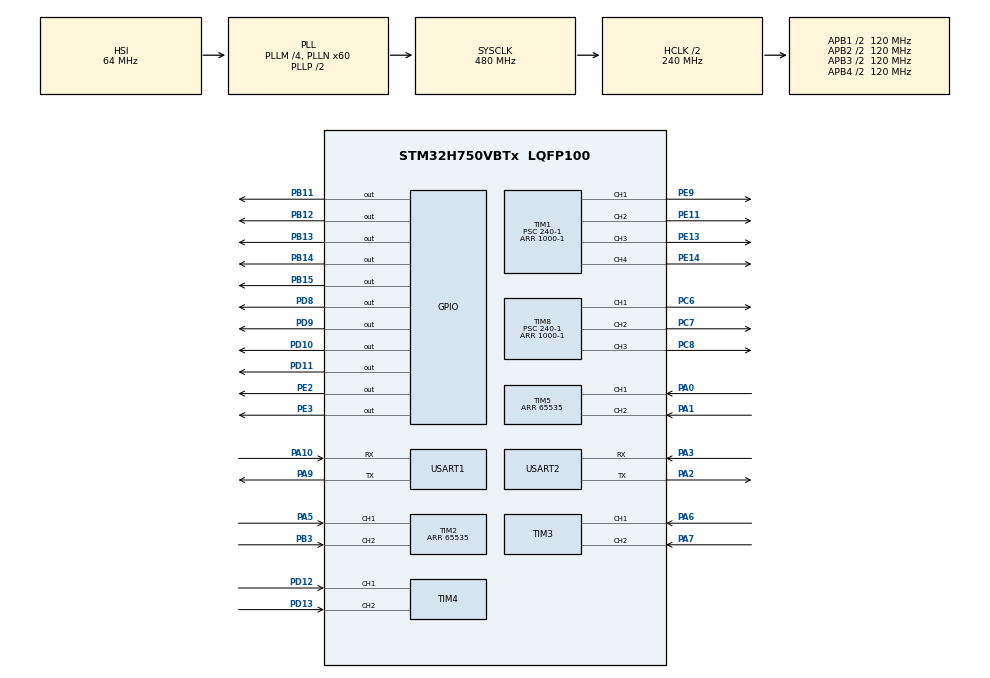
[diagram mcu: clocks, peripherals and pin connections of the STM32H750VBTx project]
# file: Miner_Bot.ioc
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CORTEX_M7.default_mode_Activation=1
Dma.Request0=TIM8_CH1
Dma.Request1=TIM8_CH2
Dma.Request2=TIM8_CH3
Dma.TIM8_CH1.0.Direction=DMA_PERIPH_TO_MEMORY
Dma.TIM8_CH1.0.EventEnable=DISABLE
Dma.TIM8_CH1.0.FIFOMode=DMA_FIFOMODE_DISABLE
Dma.TIM8_CH1.0.Instance=DMA1_Stream4
Dma.TIM8_CH1.0.MemDataAlignment=DMA_MDATAALIGN_HALFWORD
Dma.TIM8_CH1.0.MemInc=DMA_MINC_ENABLE
Dma.TIM8_CH1.0.Mode=DMA_NORMAL
Dma.TIM8_CH1.0.PeriphDataAlignment=DMA_PDATAALIGN_HALFWORD
Dma.TIM8_CH1.0.PeriphInc=DMA_PINC_DISABLE
Dma.TIM8_CH1.0.Polarity=HAL_DMAMUX_REQ_GEN_RISING
Dma.TIM8_CH1.0.Priority=DMA_PRIORITY_LOW
Dma.TIM8_CH1.0.RequestNumber=1
Dma.TIM8_CH1.0.SignalID=NONE
Dma.TIM8_CH1.0.SyncEnable=DISABLE
Dma.TIM8_CH1.0.SyncPolarity=HAL_DMAMUX_SYNC_NO_EVENT
Dma.TIM8_CH1.0.SyncRequestNumber=1
Dma.TIM8_CH1.0.SyncSignalID=NONE
Dma.TIM8_CH2.1.Direction=DMA_PERIPH_TO_MEMORY
Dma.TIM8_CH2.1.EventEnable=DISABLE
Dma.TIM8_CH2.1.FIFOMode=DMA_FIFOMODE_DISABLE
Dma.TIM8_CH2.1.Instance=DMA1_Stream5
Dma.TIM8_CH2.1.MemDataAlignment=DMA_MDATAALIGN_HALFWORD
Dma.TIM8_CH2.1.MemInc=DMA_MINC_ENABLE
Dma.TIM8_CH2.1.Mode=DMA_NORMAL
Dma.TIM8_CH2.1.PeriphDataAlignment=DMA_PDATAALIGN_HALFWORD
Dma.TIM8_CH2.1.PeriphInc=DMA_PINC_DISABLE
Dma.TIM8_CH2.1.Polarity=HAL_DMAMUX_REQ_GEN_RISING
Dma.TIM8_CH2.1.Priority=DMA_PRIORITY_LOW
Dma.TIM8_CH2.1.RequestNumber=1
Dma.TIM8_CH2.1.SignalID=NONE
Dma.TIM8_CH2.1.SyncEnable=DISABLE
Dma.TIM8_CH2.1.SyncPolarity=HAL_DMAMUX_SYNC_NO_EVENT
Dma.TIM8_CH2.1.SyncRequestNumber=1
Dma.TIM8_CH2.1.SyncSignalID=NONE
Dma.TIM8_CH3.2.Direction=DMA_PERIPH_TO_MEMORY
Dma.TIM8_CH3.2.EventEnable=DISABLE
Dma.TIM8_CH3.2.FIFOMode=DMA_FIFOMODE_DISABLE
Dma.TIM8_CH3.2.Instance=DMA1_Stream6
Dma.TIM8_CH3.2.MemDataAlignment=DMA_MDATAALIGN_HALFWORD
Dma.TIM8_CH3.2.MemInc=DMA_MINC_ENABLE
Dma.TIM8_CH3.2.Mode=DMA_NORMAL
Dma.TIM8_CH3.2.PeriphDataAlignment=DMA_PDATAALIGN_HALFWORD
Dma.TIM8_CH3.2.PeriphInc=DMA_PINC_DISABLE
Dma.TIM8_CH3.2.Polarity=HAL_DMAMUX_REQ_GEN_RISING
Dma.TIM8_CH3.2.Priority=DMA_PRIORITY_LOW
Dma.TIM8_CH3.2.RequestNumber=1
Dma.TIM8_CH3.2.SignalID=NONE
Dma.TIM8_CH3.2.SyncEnable=DISABLE
Dma.TIM8_CH3.2.SyncPolarity=HAL_DMAMUX_SYNC_NO_EVENT
Dma.TIM8_CH3.2.SyncRequestNumber=1
Dma.TIM8_CH3.2.SyncSignalID=NONE
Mcu.Family=STM32H7
Mcu.Name=STM32H750VBTx
Mcu.Package=LQFP100
NVIC.DMA1_Stream4_IRQn=true\:0\:0\:false\:false\:true\:false\:true\:true
NVIC.DMA1_Stream5_IRQn=true\:0\:0\:false\:false\:true\:false\:true\:true
NVIC.DMA1_Stream6_IRQn=true\:0\:0\:false\:false\:true\:false\:true\:true
NVIC.PriorityGroup=NVIC_PRIORITYGROUP_4
NVIC.RCC_IRQn=true\:0\:0\:false\:false\:true\:true\:false\:true
NVIC.TIM1_BRK_IRQn=true\:0\:0\:false\:false\:true\:true\:true\:true
NVIC.TIM1_TRG_COM_IRQn=true\:0\:0\:false\:false\:true\:true\:true\:true
NVIC.TIM1_UP_IRQn=true\:0\:0\:false\:false\:true\:true\:true\:true
NVIC.TIM2_IRQn=true\:0\:0\:false\:false\:true\:true\:true\:true
NVIC.TIM3_IRQn=true\:0\:0\:false\:false\:true\:true\:true\:true
NVIC.TIM4_IRQn=true\:0\:0\:false\:false\:true\:true\:true\:true
NVIC.TIM5_IRQn=true\:0\:0\:false\:false\:true\:true\:true\:true
NVIC.TIM7_IRQn=true\:0\:0\:false\:false\:true\:true\:true\:true
NVIC.TIM8_BRK_TIM12_IRQn=true\:0\:0\:false\:false\:true\:true\:true\:true
NVIC.TIM8_CC_IRQn=true\:0\:0\:false\:false\:true\:true\:true\:true
NVIC.TIM8_TRG_COM_TIM14_IRQn=true\:0\:0\:false\:false\:true\:true\:true\:true
NVIC.TIM8_UP_TIM13_IRQn=true\:0\:0\:false\:false\:true\:true\:true\:true
NVIC.USART1_IRQn=true\:0\:0\:false\:false\:true\:true\:true\:true
NVIC.USART2_IRQn=true\:0\:0\:false\:false\:true\:true\:true\:true
PA0.Signal=S_TIM5_CH1
PA1.Signal=S_TIM5_CH2
PA10.Mode=Asynchronous
PA10.Signal=USART1_RX
PA2.Mode=Asynchronous
PA2.Signal=USART2_TX
PA3.Mode=Asynchronous
PA3.Signal=USART2_RX
PA5.Signal=S_TIM2_CH1_ETR
PA6.Signal=S_TIM3_CH1
PA7.Signal=S_TIM3_CH2
PA9.Mode=Asynchronous
PA9.Signal=USART1_TX
PB11.Signal=GPIO_Output
PB12.Signal=GPIO_Output
PB13.Signal=GPIO_Output
PB14.Signal=GPIO_Output
PB15.Signal=GPIO_Output
PB3\ (JTDO/TRACESWO).Signal=S_TIM2_CH2
PC6.Signal=S_TIM8_CH1
PC7.Signal=S_TIM8_CH2
PC8.Signal=S_TIM8_CH3
PD10.Signal=GPIO_Output
PD11.Signal=GPIO_Output
PD12.Signal=S_TIM4_CH1
PD13.Signal=S_TIM4_CH2
PD8.Signal=GPIO_Output
PD9.Signal=GPIO_Output
PE11.Signal=S_TIM1_CH2
PE13.Signal=S_TIM1_CH3
PE14.Signal=S_TIM1_CH4
PE2.Signal=GPIO_Output
PE3.Signal=GPIO_Output
PE9.Signal=S_TIM1_CH1
PH0-OSC_IN\ (PH0).Mode=HSE-External-Oscillator
PH0-OSC_IN\ (PH0).Signal=RCC_OSC_IN
PH1-OSC_OUT\ (PH1).Mode=HSE-External-Oscillator
PH1-OSC_OUT\ (PH1).Signal=RCC_OSC_OUT
ProjectManager.HeapSize=0x200
ProjectManager.StackSize=0x400
ProjectManager.TargetToolchain=MDK-ARM V5
RCC.ADCFreq_Value=129000000
RCC.APB1Freq_Value=120000000
RCC.APB2Freq_Value=120000000
RCC.APB3Freq_Value=120000000
RCC.APB4Freq_Value=120000000
RCC.CortexFreq_Value=480000000
RCC.D1PPRE=RCC_APB3_DIV2
RCC.D2PPRE1=RCC_APB1_DIV2
RCC.D2PPRE2=RCC_APB2_DIV2
RCC.D3PPRE=RCC_APB4_DIV2
RCC.DIVM1=4
RCC.DIVN1=60
RCC.DIVQ1=8
RCC.HCLKFreq_Value=240000000
RCC.HPRE=RCC_HCLK_DIV2
RCC.HSE_VALUE=8000000
RCC.PLL2FRACN=0
RCC.PLL3FRACN=0
RCC.PLLFRACN=0
RCC.PWR_Regulator_Voltage_Scale=PWR_REGULATOR_VOLTAGE_SCALE0
RCC.SYSCLKFreq_VALUE=480000000
RCC.SYSCLKSource=RCC_SYSCLKSOURCE_PLLCLK
RCC.USBFreq_Value=120000000
SH.S_TIM1_CH1.0=TIM1_CH1,PWM Generation1 CH1
SH.S_TIM1_CH2.0=TIM1_CH2,PWM Generation2 CH2
SH.S_TIM1_CH3.0=TIM1_CH3,PWM Generation3 CH3
SH.S_TIM1_CH4.0=TIM1_CH4,PWM Generation4 CH4
SH.S_TIM2_CH1_ETR.0=TIM2_CH1,Encoder_Interface
SH.S_TIM2_CH2.0=TIM2_CH2,Encoder_Interface
SH.S_TIM3_CH1.0=TIM3_CH1,Encoder_Interface
SH.S_TIM3_CH2.0=TIM3_CH2,Encoder_Interface
SH.S_TIM4_CH1.0=TIM4_CH1,Encoder_Interface
SH.S_TIM4_CH2.0=TIM4_CH2,Encoder_Interface
SH.S_TIM5_CH1.0=TIM5_CH1,Encoder_Interface
SH.S_TIM5_CH2.0=TIM5_CH2,Encoder_Interface
SH.S_TIM8_CH1.0=TIM8_CH1,PWM Generation1 CH1
SH.S_TIM8_CH2.0=TIM8_CH2,PWM Generation2 CH2
SH.S_TIM8_CH3.0=TIM8_CH3,PWM Generation3 CH3
TIM1.AutoReloadPreload=TIM_AUTORELOAD_PRELOAD_ENABLE
TIM1.Channel-PWM\ Generation1\ CH1=TIM_CHANNEL_1
TIM1.Channel-PWM\ Generation2\ CH2=TIM_CHANNEL_2
TIM1.Channel-PWM\ Generation3\ CH3=TIM_CHANNEL_3
TIM1.Channel-PWM\ Generation4\ CH4=TIM_CHANNEL_4
TIM1.Period=1000-1
TIM1.Prescaler=240-1
TIM2.EncoderMode=TIM_ENCODERMODE_TI12
TIM2.IC1Filter=0
TIM2.Period=65535
TIM3.EncoderMode=TIM_ENCODERMODE_TI12
TIM4.EncoderMode=TIM_ENCODERMODE_TI12
TIM5.EncoderMode=TIM_ENCODERMODE_TI12
TIM5.Period=65535
TIM7.Prescaler=240-1
TIM8.AutoReloadPreload=TIM_AUTORELOAD_PRELOAD_ENABLE
TIM8.Channel-PWM\ Generation1\ CH1=TIM_CHANNEL_1
TIM8.Channel-PWM\ Generation2\ CH2=TIM_CHANNEL_2
TIM8.Channel-PWM\ Generation3\ CH3=TIM_CHANNEL_3
TIM8.Period=1000-1
TIM8.Prescaler=240-1
USART1.VirtualMode-Asynchronous=VM_ASYNC
USART2.VirtualMode-Asynchronous=VM_ASYNC
VP_MEMORYMAP_VS_MEMORYMAP.Mode=CurAppReg
VP_TIM7_VS_ClockSourceINT.Mode=Enable_Timer
board=custom

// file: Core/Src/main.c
/* USER CODE BEGIN Header */
/**
  ******************************************************************************
  * @file           : main.c
  * @brief          : Main program body
  ******************************************************************************
  * @attention
  *
  * Copyright (c) 2025 STMicroelectronics.
  * All rights reserved.
  *
  * This software is licensed under terms that can be found in the LICENSE file
  * in the root directory of this software component.
  * If no LICENSE file comes with this software, it is provided AS-IS.
  *
  ******************************************************************************
  */
/* USER CODE END Header */
#include "main.h"
#include "dma.h"
#include "tim.h"
#include "usart.h"
#include "gpio.h"

/* USER CODE BEGIN Includes */
#include "motor.h"
/* USER CODE END Includes */

void SystemClock_Config(void);
static void MPU_Config(void);

/* USER CODE BEGIN 0 */

uint8_t debug = 0;
int8_t spin_speed = -100;
uint8_t htim_num = 0;
extern jgb37_520_motor_t motor[4];

void HAL_TIM_PeriodElapsedCallback(TIM_HandleTypeDef *htim){
  JGB37_520_motor_output(motor+0,spin_speed*debug);
  if (htim->Instance == TIM1){
    htim_num = 1;
    JGB37_520_motor_get(motor+0);
    return ;
  }
  if (htim->Instance == TIM7){
    htim_num = 7;
    return ;
  }
  if (htim->Instance == TIM8){
    htim_num = 8;
    return ;
  }
}

/* USER CODE END 0 */

int main(void)
{

  /* MPU Configuration--------------------------------------------------------*/
  MPU_Config();

  /* MCU Configuration--------------------------------------------------------*/

  /* Reset of all peripherals, Initializes the Flash interface and the Systick. */
  HAL_Init();

  /* Configure the system clock */
  SystemClock_Config();

  /* Initialize all configured peripherals */
  MX_GPIO_Init();
  MX_DMA_Init();
  MX_TIM1_Init();
  MX_TIM8_Init();
  MX_TIM2_Init();
  MX_TIM3_Init();
  MX_TIM4_Init();
  MX_TIM5_Init();
  MX_USART1_UART_Init();
  MX_USART2_UART_Init();
  MX_TIM7_Init();
  /* USER CODE BEGIN 2 */
  HAL_TIM_Base_Start_IT(&htim1);
  HAL_TIM_Base_Start_IT(&htim2);
  HAL_TIM_Base_Start_IT(&htim3);
  HAL_TIM_Base_Start_IT(&htim4);
  HAL_TIM_Base_Start_IT(&htim5);
  HAL_TIM_Base_Start_IT(&htim8);
  HAL_TIM_Base_Start_IT(&htim7);
  JGB37_520_motor_init(motor+0,&htim1,TIM_CHANNEL_1,&htim2,GPIOE,GPIO_PIN_2,GPIOD,GPIO_PIN_11,GPIOD,GPIO_PIN_10);
  JGB37_520_motor_init(motor+1,&htim1,TIM_CHANNEL_2,&htim3,GPIOE,GPIO_PIN_2,GPIOB,GPIO_PIN_14,GPIOD,GPIO_PIN_8);
  /* USER CODE END 2 */

  /* Infinite loop */
  while (1)
  {

  }
}

void SystemClock_Config(void)
{
  RCC_OscInitTypeDef RCC_OscInitStruct = {0};
  RCC_ClkInitTypeDef RCC_ClkInitStruct = {0};

  /** Supply configuration update enable
  */
  HAL_PWREx_ConfigSupply(PWR_LDO_SUPPLY);

  /** Configure the main internal regulator output voltage
  */
  __HAL_PWR_VOLTAGESCALING_CONFIG(PWR_REGULATOR_VOLTAGE_SCALE0);

  while(!__HAL_PWR_GET_FLAG(PWR_FLAG_VOSRDY)) {}

  /** Initializes the RCC Oscillators according to the specified parameters
  * in the RCC_OscInitTypeDef structure.
  */
  RCC_OscInitStruct.OscillatorType = RCC_OSCILLATORTYPE_HSI;
  RCC_OscInitStruct.HSIState = RCC_HSI_DIV1;
  RCC_OscInitStruct.HSICalibrationValue = RCC_HSICALIBRATION_DEFAULT;
  RCC_OscInitStruct.PLL.PLLState = RCC_PLL_ON;
  RCC_OscInitStruct.PLL.PLLSource = RCC_PLLSOURCE_HSI;
  RCC_OscInitStruct.PLL.PLLM = 4;
  RCC_OscInitStruct.PLL.PLLN = 60;
  RCC_OscInitStruct.PLL.PLLP = 2;
  RCC_OscInitStruct.PLL.PLLQ = 8;
  RCC_OscInitStruct.PLL.PLLR = 2;
  RCC_OscInitStruct.PLL.PLLRGE = RCC_PLL1VCIRANGE_3;
  RCC_OscInitStruct.PLL.PLLVCOSEL = RCC_PLL1VCOWIDE;
  RCC_OscInitStruct.PLL.PLLFRACN = 0;
  if (HAL_RCC_OscConfig(&RCC_OscInitStruct) != HAL_OK)
  {
    Error_Handler();
  }

  /** Initializes the CPU, AHB and APB buses clocks
  */
  RCC_ClkInitStruct.ClockType = RCC_CLOCKTYPE_HCLK|RCC_CLOCKTYPE_SYSCLK
                              |RCC_CLOCKTYPE_PCLK1|RCC_CLOCKTYPE_PCLK2
                              |RCC_CLOCKTYPE_D3PCLK1|RCC_CLOCKTYPE_D1PCLK1;
  RCC_ClkInitStruct.SYSCLKSource = RCC_SYSCLKSOURCE_PLLCLK;
  RCC_ClkInitStruct.SYSCLKDivider = RCC_SYSCLK_DIV1;
  RCC_ClkInitStruct.AHBCLKDivider = RCC_HCLK_DIV2;
  RCC_ClkInitStruct.APB3CLKDivider = RCC_APB3_DIV2;
  RCC_ClkInitStruct.APB1CLKDivider = RCC_APB1_DIV2;
  RCC_ClkInitStruct.APB2CLKDivider = RCC_APB2_DIV2;
  RCC_ClkInitStruct.APB4CLKDivider = RCC_APB4_DIV2;

  if (HAL_RCC_ClockConfig(&RCC_ClkInitStruct, FLASH_LATENCY_4) != HAL_OK)
  {
    Error_Handler();
  }
}

 /* MPU Configuration */

void MPU_Config(void)
{
  MPU_Region_InitTypeDef MPU_InitStruct = {0};

  /* Disables the MPU */
  HAL_MPU_Disable();

  /** Initializes and configures the Region and the memory to be protected
  */
  MPU_InitStruct.Enable = MPU_REGION_ENABLE;
  MPU_InitStruct.Number = MPU_REGION_NUMBER0;
  MPU_InitStruct.BaseAddress = 0x0;
  MPU_InitStruct.Size = MPU_REGION_SIZE_4GB;
  MPU_InitStruct.SubRegionDisable = 0x87;
  MPU_InitStruct.TypeExtField = MPU_TEX_LEVEL0;
  MPU_InitStruct.AccessPermission = MPU_REGION_NO_ACCESS;
  MPU_InitStruct.DisableExec = MPU_INSTRUCTION_ACCESS_DISABLE;
  MPU_InitStruct.IsShareable = MPU_ACCESS_SHAREABLE;
  MPU_InitStruct.IsCacheable = MPU_ACCESS_NOT_CACHEABLE;
  MPU_InitStruct.IsBufferable = MPU_ACCESS_NOT_BUFFERABLE;

  HAL_MPU_ConfigRegion(&MPU_InitStruct);
  /* Enables the MPU */
  HAL_MPU_Enable(MPU_PRIVILEGED_DEFAULT);

}

void Error_Handler(void)
{
  __disable_irq();
  while (1)
  {
  }
}
